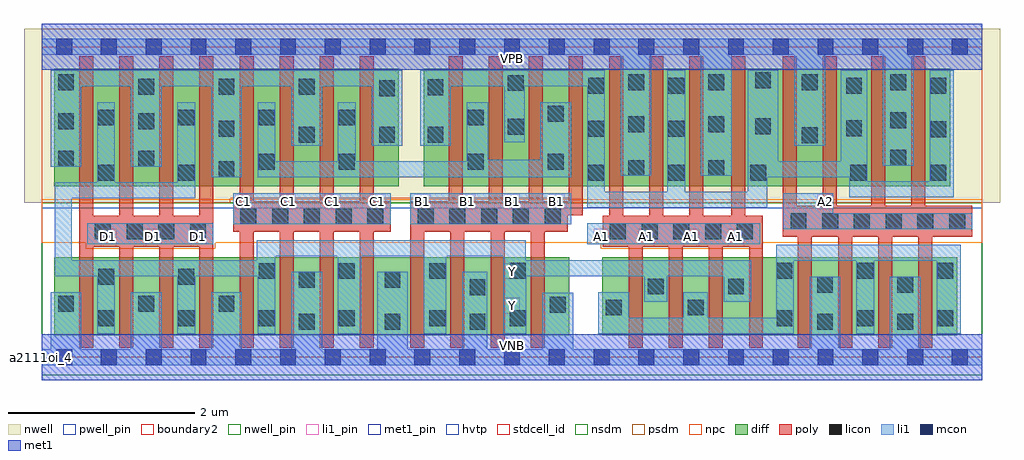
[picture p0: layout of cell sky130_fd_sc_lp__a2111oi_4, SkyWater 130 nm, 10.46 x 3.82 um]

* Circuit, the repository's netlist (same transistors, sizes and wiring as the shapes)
* Copyright 2020 The SkyWater PDK Authors
*
* Licensed under the Apache License, Version 2.0 (the "License");
* you may not use this file except in compliance with the License.
* You may obtain a copy of the License at
*
*     https://www.apache.org/licenses/LICENSE-2.0
*
* Unless required by applicable law or agreed to in writing, software
* distributed under the License is distributed on an "AS IS" BASIS,
* WITHOUT WARRANTIES OR CONDITIONS OF ANY KIND, either express or implied.
* See the License for the specific language governing permissions and
* limitations under the License.
*
* SPDX-License-Identifier: Apache-2.0

.SUBCKT sky130_fd_sc_lp__a2111oi_4 A1 A2 B1 C1 D1 VGND VNB VPB VPWR Y
*.PININFO A1:I A2:I B1:I C1:I D1:I VGND:I VNB:I VPB:I VPWR:I Y:O
MMPA0 pndA A1 VPWR VPB sky130_fd_pr__pfet_01v8_hvt m=4 w=1.26U l=0.15U mult=1 sa=0.265
+ sb=0.265 sd=0.28 area=0.063 perim=1.14
MMPA1 pndA A2 VPWR VPB sky130_fd_pr__pfet_01v8_hvt m=4 w=1.26U l=0.15U mult=1 sa=0.265
+ sb=0.265 sd=0.28 area=0.063 perim=1.14
MMPB0 pndB B1 pndA VPB sky130_fd_pr__pfet_01v8_hvt m=4 w=1.26U l=0.15U mult=1 sa=0.265
+ sb=0.265 sd=0.28 area=0.063 perim=1.14
MMPC0 pndC C1 pndB VPB sky130_fd_pr__pfet_01v8_hvt m=4 w=1.26U l=0.15U mult=1 sa=0.265
+ sb=0.265 sd=0.28 area=0.063 perim=1.14
MMPD0 Y D1 pndC VPB sky130_fd_pr__pfet_01v8_hvt m=4 w=1.26U l=0.15U mult=1 sa=0.265
+ sb=0.265 sd=0.28 area=0.063 perim=1.14
MMNA0 Y A1 sndA1 VNB sky130_fd_pr__nfet_01v8 m=4 w=0.84U l=0.15U mult=1 sa=0.265
+ sb=0.265 sd=0.28 area=0.063 perim=1.14
MMNA1 sndA1 A2 VGND VNB sky130_fd_pr__nfet_01v8 m=4 w=0.84U l=0.15U mult=1 sa=0.265
+ sb=0.265 sd=0.28 area=0.063 perim=1.14
MMNB0 Y B1 VGND VNB sky130_fd_pr__nfet_01v8 m=4 w=0.84U l=0.15U mult=1 sa=0.265
+ sb=0.265 sd=0.28 area=0.063 perim=1.14
MMNC0 Y C1 VGND VNB sky130_fd_pr__nfet_01v8 m=4 w=0.84U l=0.15U mult=1 sa=0.265
+ sb=0.265 sd=0.28 area=0.063 perim=1.14
MMND0 Y D1 VGND VNB sky130_fd_pr__nfet_01v8 m=4 w=0.84U l=0.15U mult=1 sa=0.265
+ sb=0.265 sd=0.28 area=0.063 perim=1.14
.ENDS sky130_fd_sc_lp__a2111oi_4

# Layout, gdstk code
import gdstk
lib = gdstk.Library(unit=1e-6, precision=1e-09)
def R(c, l, rs):  # rectangles x0, y0, x1, y1
    for r in rs: c.add(gdstk.rectangle(r[:2], r[2:], *l))
def A(c, l, x, y, w, h, nx, ny, dx, dy):  # array of equal rectangles
    R(c, l, [(x+i*dx, y+j*dy, x+i*dx+w, y+j*dy+h) for i in range(nx) for j in range(ny)])
def P(c, l, *ps):  # polygons
    for p in ps: c.add(gdstk.Polygon(p, *l))
nwell_pin = (64, 16)
nwell = (64, 20)
diff = (65, 20)
poly = (66, 20)
licon = (66, 44)
li1_pin = (67, 16)
li1 = (67, 20)
mcon = (67, 44)
met1_pin = (68, 16)
met1 = (68, 20)
hvtp = (78, 44)
stdcell_id = (81, 4)
nsdm = (93, 44)
psdm = (94, 20)
npc = (95, 20)
pwell_pin = (122, 16)
boundary2 = (236, 0)

sky130_fd_sc_lp__a2111oi = lib.new_cell('sky130_fd_sc_lp__a2111oi_4')
R(sky130_fd_sc_lp__a2111oi, nwell_pin, [(0,3.085,10.08,3.33)])
R(sky130_fd_sc_lp__a2111oi, nwell, [(-0.19,1.655,10.27,3.52)])
R(sky130_fd_sc_lp__a2111oi, diff, [(0.135,0.235,5.655,1.075), (6.005,0.235,9.81,1.075), (0.135,1.835,3.825,3.095), (4.095,1.835,9.735,3.095)])
P(sky130_fd_sc_lp__a2111oi, poly, [(1.84,3.225),(1.69,3.225),(1.69,1.515),(1.41,1.515),(1.41,3.225),(1.26,3.225),(1.26,1.515),(0.98,1.515),(0.98,3.225),(0.83,3.225),(0.83,1.515),(0.55,1.515),(0.55,3.225),(0.4,3.225),(0.4,0.105),(0.55,0.105),(0.55,1.185),(0.83,1.185),(0.83,0.105),(0.98,0.105),(0.98,1.185),(1.26,1.185),(1.26,0.105),(1.41,0.105),(1.41,1.185),(1.69,1.185),(1.69,0.105),(1.84,0.105)],
  [(3.74,1.675),(3.56,1.675),(3.56,3.225),(3.41,3.225),(3.41,1.675),(3.13,1.675),(3.13,3.225),(2.98,3.225),(2.98,1.675),(2.7,1.675),(2.7,3.225),(2.55,3.225),(2.55,1.675),(2.27,1.675),(2.27,3.225),(2.12,3.225),(2.12,1.675),(2.05,1.675),(2.05,1.345),(2.12,1.345),(2.12,0.105),(2.27,0.105),(2.27,1.345),(2.55,1.345),(2.55,0.105),(2.7,0.105),(2.7,1.345),(2.98,1.345),(2.98,0.105),(3.13,0.105),(3.13,1.345),(3.41,1.345),(3.41,0.105),(3.56,0.105),(3.56,1.345),(3.74,1.345)],
  [(5.8,3.225),(5.65,3.225),(5.65,1.675),(5.37,1.675),(5.37,3.225),(5.22,3.225),(5.22,1.675),(4.94,1.675),(4.94,3.225),(4.79,3.225),(4.79,1.675),(4.51,1.675),(4.51,3.225),(4.36,3.225),(4.36,1.675),(3.95,1.675),(3.95,0.105),(4.1,0.105),(4.1,1.345),(4.38,1.345),(4.38,0.105),(4.53,0.105),(4.53,1.345),(4.81,1.345),(4.81,0.105),(4.96,0.105),(4.96,1.345),(5.24,1.345),(5.24,0.105),(5.39,0.105),(5.39,1.345),(5.64,1.345),(5.64,1.525),(5.8,1.525)],
  [(7.73,1.515),(7.54,1.515),(7.54,3.225),(7.39,3.225),(7.39,1.515),(7.09,1.515),(7.09,3.225),(6.94,3.225),(6.94,1.515),(6.66,1.515),(6.66,3.225),(6.51,3.225),(6.51,1.515),(6.23,1.515),(6.23,3.225),(6.08,3.225),(6.08,1.515),(6.01,1.515),(6.01,1.185),(6.29,1.185),(6.29,0.105),(6.44,0.105),(6.44,1.185),(6.72,1.185),(6.72,0.105),(6.87,0.105),(6.87,1.185),(7.15,1.185),(7.15,0.105),(7.3,0.105),(7.3,1.185),(7.58,1.185),(7.58,0.105),(7.73,0.105)],
  [(9.975,1.625),(9.47,1.625),(9.47,3.225),(9.32,3.225),(9.32,1.625),(9.04,1.625),(9.04,3.225),(8.89,3.225),(8.89,1.625),(8.52,1.625),(8.52,3.225),(8.37,3.225),(8.37,1.625),(8.09,1.625),(8.09,3.225),(7.94,3.225),(7.94,1.295),(8.105,1.295),(8.105,0.105),(8.255,0.105),(8.255,1.295),(8.535,1.295),(8.535,0.105),(8.685,0.105),(8.685,1.295),(8.965,1.295),(8.965,0.105),(9.115,0.105),(9.115,1.295),(9.395,1.295),(9.395,0.105),(9.545,0.105),(9.545,1.295),(9.975,1.295)])
A(sky130_fd_sc_lp__a2111oi, licon, 0.605, 0.335, 0.17, 0.17, 4, 2, 0.86, 2.15)
A(sky130_fd_sc_lp__a2111oi, licon, 0.175, 0.49, 0.17, 0.17, 3, 1, 0.86, 0)
A(sky130_fd_sc_lp__a2111oi, licon, 0.57, 1.265, 0.17, 0.17, 4, 1, 0.34, 0)
A(sky130_fd_sc_lp__a2111oi, licon, 6.09, 1.265, 0.17, 0.17, 5, 1, 0.34, 0)
A(sky130_fd_sc_lp__a2111oi, licon, 8.025, 1.375, 0.17, 0.17, 6, 1, 0.34, 0)
A(sky130_fd_sc_lp__a2111oi, licon, 2.13, 1.425, 0.17, 0.17, 5, 1, 0.34, 0)
A(sky130_fd_sc_lp__a2111oi, licon, 4.03, 1.425, 0.17, 0.17, 5, 1, 0.34, 0)
A(sky130_fd_sc_lp__a2111oi, licon, 9.525, 1.895, 0.17, 0.17, 1, 3, 0, 0.465)
A(sky130_fd_sc_lp__a2111oi, licon, 1.035, 2.815, 0.17, 0.17, 3, 1, 0.86, 0)
R(sky130_fd_sc_lp__a2111oi, licon, [(2.755,0.295,2.925,0.465), (3.675,0.295,3.845,0.465), (4.585,0.295,4.755,0.465), (8.31,0.295,8.48,0.465), (9.17,0.295,9.34,0.465), (4.155,0.335,4.325,0.505), (5.015,0.335,5.185,0.505), (7.875,0.335,8.045,0.505), (8.74,0.335,8.91,0.505), (9.6,0.335,9.77,0.505), (6.045,0.45,6.215,0.62), (6.925,0.45,7.095,0.62), (5.445,0.48,5.615,0.65), (4.585,0.665,4.755,0.835), (6.495,0.675,6.665,0.845), (7.355,0.675,7.525,0.845), (8.31,0.695,8.48,0.865), (9.17,0.695,9.34,0.865), (2.755,0.745,2.925,0.915), (3.675,0.745,3.845,0.915), (0.605,0.78,0.775,0.95), (1.465,0.78,1.635,0.95), (2.325,0.84,2.495,1.01), (3.185,0.84,3.355,1.01), (4.155,0.84,4.325,1.01), (5.015,0.845,5.185,1.015), (7.875,0.845,8.045,1.015), (8.74,0.845,8.91,1.015), (9.6,0.845,9.77,1.015), (0.605,1.895,0.775,2.065), (1.465,1.895,1.635,2.065), (5.855,1.895,6.025,2.065), (6.715,1.895,6.885,2.065), (7.595,1.895,7.765,2.065), (8.665,1.895,8.835,2.065), (1.895,1.93,2.065,2.1), (6.285,1.945,6.455,2.115), (7.145,1.945,7.315,2.115), (2.325,2.01,2.495,2.18), (3.185,2.01,3.355,2.18), (4.565,2.01,4.735,2.18), (5.425,2.01,5.595,2.18), (0.175,2.045,0.345,2.215), (1.035,2.045,1.205,2.215), (9.095,2.055,9.265,2.225), (8.145,2.295,8.315,2.465), (2.755,2.3,2.925,2.47), (3.615,2.3,3.785,2.47), (4.135,2.3,4.305,2.47), (1.895,2.365,2.065,2.535), (5.855,2.365,6.025,2.535), (6.715,2.365,6.885,2.535), (8.62,2.37,8.79,2.54), (4.995,2.385,5.165,2.555), (7.645,2.39,7.815,2.56), (6.285,2.415,6.455,2.585), (7.145,2.415,7.315,2.585), (0.175,2.445,0.345,2.615), (1.035,2.445,1.205,2.615), (9.095,2.455,9.265,2.625), (4.565,2.485,4.735,2.655), (5.425,2.525,5.595,2.695), (3.615,2.8,3.785,2.97), (4.135,2.81,4.305,2.98), (5.855,2.825,6.025,2.995), (6.715,2.825,6.885,2.995), (8.62,2.825,8.79,2.995), (4.995,2.855,5.165,3.025), (0.175,2.865,0.345,3.035), (6.285,2.865,6.455,3.035), (7.145,2.865,7.315,3.035), (8.145,2.865,8.315,3.035), (9.095,2.865,9.265,3.035), (7.645,2.885,7.815,3.055)])
A(sky130_fd_sc_lp__a2111oi, li1_pin, 0.635, 1.21, 0.17, 0.17, 3, 1, 0.48, 0)
A(sky130_fd_sc_lp__a2111oi, li1_pin, 5.915, 1.21, 0.17, 0.17, 4, 1, 0.48, 0)
A(sky130_fd_sc_lp__a2111oi, li1_pin, 2.075, 1.58, 0.17, 0.17, 8, 1, 0.48, 0)
R(sky130_fd_sc_lp__a2111oi, li1_pin, [(4.955,0.47,5.125,0.64), (4.955,0.84,5.125,1.01), (8.315,1.58,8.485,1.75)])
R(sky130_fd_sc_lp__a2111oi, li1, [(0.49,1.21,1.84,1.435), (5.845,1.21,7.7,1.435), (2.05,1.425,3.74,1.76), (3.95,1.425,5.675,1.76)])
P(sky130_fd_sc_lp__a2111oi, li1, [(10.08,3.415),(0,3.415),(0,3.245),(6.205,3.245),(6.205,1.945),(6.535,1.945),(6.535,3.245),(7.065,3.245),(7.065,1.945),(7.395,1.945),(7.395,3.245),(8.065,3.245),(8.065,2.27),(8.395,2.27),(8.395,3.245),(9.015,3.245),(9.015,2.055),(9.345,2.055),(9.345,3.245),(10.08,3.245)],
  [(3.865,3.075),(0.095,3.075),(0.095,2.045),(0.425,2.045),(0.425,2.905),(0.955,2.905),(0.955,2.045),(1.285,2.045),(1.285,2.905),(1.815,2.905),(1.815,1.93),(2.145,1.93),(2.145,2.905),(2.675,2.905),(2.675,2.27),(3.005,2.27),(3.005,2.905),(3.535,2.905),(3.535,2.27),(3.865,2.27)],
  [(7.605,1.04),(5.185,1.04),(5.185,1.255),(2.305,1.255),(2.305,1.04),(0.32,1.04),(0.32,1.705),(1.645,1.705),(1.645,2.735),(1.455,2.735),(1.455,1.875),(0.785,1.875),(0.785,2.735),(0.595,2.735),(0.595,1.875),(0.14,1.875),(0.14,0.87),(0.595,0.87),(0.595,0.255),(0.785,0.255),(0.785,0.87),(1.455,0.87),(1.455,0.255),(1.645,0.255),(1.645,0.87),(2.315,0.87),(2.315,0.255),(2.505,0.255),(2.505,1.085),(3.175,1.085),(3.175,0.255),(3.425,0.255),(3.425,1.085),(4.095,1.085),(4.095,0.255),(4.335,0.255),(4.335,1.085),(4.945,1.085),(4.945,0.255),(5.195,0.255),(5.195,0.87),(6.46,0.87),(6.46,0.595),(6.705,0.595),(6.705,0.87),(7.31,0.87),(7.31,0.595),(7.605,0.595)],
  [(5.675,2.735),(5.345,2.735),(5.345,2.12),(4.785,2.12),(4.785,2.735),(4.555,2.735),(4.555,2.1),(3.365,2.1),(3.365,2.735),(3.175,2.735),(3.175,2.1),(2.505,2.1),(2.505,2.735),(2.315,2.735),(2.315,1.93),(5.675,1.93)],
  [(10.08,0.085),(9.42,0.085),(9.42,0.865),(9.09,0.865),(9.09,0.085),(8.56,0.085),(8.56,0.865),(8.23,0.865),(8.23,0.085),(5.695,0.085),(5.695,0.69),(5.365,0.69),(5.365,0.085),(4.775,0.085),(4.775,0.915),(4.505,0.915),(4.505,0.085),(3.925,0.085),(3.925,0.915),(3.595,0.915),(3.595,0.085),(3.005,0.085),(3.005,0.915),(2.675,0.915),(2.675,0.085),(2.145,0.085),(2.145,0.7),(1.815,0.7),(1.815,0.085),(1.285,0.085),(1.285,0.7),(0.955,0.7),(0.955,0.085),(0.425,0.085),(0.425,0.7),(0.095,0.7),(0.095,0.085),(0,0.085),(0,-0.085),(10.08,-0.085)],
  [(9.975,1.545),(8.485,1.545),(8.485,1.76),(7.945,1.76),(7.945,1.375),(9.975,1.375)],
  [(9.85,1.205),(7.87,1.205),(7.87,0.425),(7.14,0.425),(7.14,0.7),(6.875,0.7),(6.875,0.425),(6.29,0.425),(6.29,0.7),(5.965,0.7),(5.965,0.255),(8.06,0.255),(8.06,1.035),(8.73,1.035),(8.73,0.255),(8.92,0.255),(8.92,1.035),(9.59,1.035),(9.59,0.255),(9.85,0.255)],
  [(9.775,3.075),(9.515,3.075),(9.515,1.885),(8.845,1.885),(8.845,3.075),(8.565,3.075),(8.565,2.1),(7.895,2.1),(7.895,3.075),(7.565,3.075),(7.565,1.775),(6.895,1.775),(6.895,3.075),(6.705,3.075),(6.705,1.775),(6.035,1.775),(6.035,3.075),(4.055,3.075),(4.055,2.27),(4.385,2.27),(4.385,2.905),(4.955,2.905),(4.955,2.305),(5.175,2.305),(5.175,2.905),(5.845,2.905),(5.845,1.605),(7.775,1.605),(7.775,1.93),(8.655,1.93),(8.655,1.715),(9.775,1.715)])
A(sky130_fd_sc_lp__a2111oi, mcon, 0.155, -0.085, 0.17, 0.17, 21, 2, 0.48, 3.33)
R(sky130_fd_sc_lp__a2111oi, met1_pin, [(0,0,10.08,0.245), (0,3.085,10.08,3.33)])
R(sky130_fd_sc_lp__a2111oi, met1, [(0,-0.245,10.08,0.245), (0,3.085,10.08,3.575)])
R(sky130_fd_sc_lp__a2111oi, hvtp, [(0,1.6,10.08,3.33)])
R(sky130_fd_sc_lp__a2111oi, stdcell_id, [(0,0,10.08,3.33)])
R(sky130_fd_sc_lp__a2111oi, nsdm, [(0,-0.19,10.08,1.655)])
P(sky130_fd_sc_lp__a2111oi, psdm, [(10.08,3.52),(0,3.52),(0,1.655),(2.02,1.655),(2.02,1.705),(5.67,1.705),(5.67,1.655),(10.08,1.655)])
P(sky130_fd_sc_lp__a2111oi, npc, [(10.08,1.695),(0,1.695),(0,1.23),(0.47,1.23),(0.47,1.165),(1.86,1.165),(1.86,1.23),(5.99,1.23),(5.99,1.165),(7.72,1.165),(7.72,1.23),(10.08,1.23)])
R(sky130_fd_sc_lp__a2111oi, pwell_pin, [(0,0,10.08,0.245)])
R(sky130_fd_sc_lp__a2111oi, boundary2, [(0,0,10.08,3.33)])
sky130_fd_sc_lp__a2111oi.add(gdstk.Label('VNB', (5.04,0.123), layer=64, texttype=59))
sky130_fd_sc_lp__a2111oi.add(gdstk.Label('VPB', (5.04,3.208), layer=64, texttype=5))
sky130_fd_sc_lp__a2111oi.add(gdstk.Label('a2111oi_4', (0,0), layer=83, texttype=44))
sky130_fd_sc_lp__a2111oi.add(gdstk.Label('VPWR', (5.04,3.208), layer=68, texttype=5))
sky130_fd_sc_lp__a2111oi.add(gdstk.Label('VGND', (5.04,0.123), layer=68, texttype=5))
sky130_fd_sc_lp__a2111oi.add(gdstk.Label('Y', (5.04,0.555), layer=67, texttype=5))
sky130_fd_sc_lp__a2111oi.add(gdstk.Label('Y', (5.04,0.925), layer=67, texttype=5))
sky130_fd_sc_lp__a2111oi.add(gdstk.Label('A1', (6,1.295), layer=67, texttype=5))
sky130_fd_sc_lp__a2111oi.add(gdstk.Label('A1', (6.48,1.295), layer=67, texttype=5))
sky130_fd_sc_lp__a2111oi.add(gdstk.Label('A1', (6.96,1.295), layer=67, texttype=5))
sky130_fd_sc_lp__a2111oi.add(gdstk.Label('A1', (7.44,1.295), layer=67, texttype=5))
sky130_fd_sc_lp__a2111oi.add(gdstk.Label('A2', (8.4,1.665), layer=67, texttype=5))
sky130_fd_sc_lp__a2111oi.add(gdstk.Label('B1', (4.08,1.665), layer=67, texttype=5))
sky130_fd_sc_lp__a2111oi.add(gdstk.Label('B1', (4.56,1.665), layer=67, texttype=5))
sky130_fd_sc_lp__a2111oi.add(gdstk.Label('B1', (5.04,1.665), layer=67, texttype=5))
sky130_fd_sc_lp__a2111oi.add(gdstk.Label('B1', (5.52,1.665), layer=67, texttype=5))
sky130_fd_sc_lp__a2111oi.add(gdstk.Label('C1', (2.16,1.665), layer=67, texttype=5))
sky130_fd_sc_lp__a2111oi.add(gdstk.Label('C1', (2.64,1.665), layer=67, texttype=5))
sky130_fd_sc_lp__a2111oi.add(gdstk.Label('C1', (3.12,1.665), layer=67, texttype=5))
sky130_fd_sc_lp__a2111oi.add(gdstk.Label('C1', (3.6,1.665), layer=67, texttype=5))
sky130_fd_sc_lp__a2111oi.add(gdstk.Label('D1', (0.72,1.295), layer=67, texttype=5))
sky130_fd_sc_lp__a2111oi.add(gdstk.Label('D1', (1.2,1.295), layer=67, texttype=5))
sky130_fd_sc_lp__a2111oi.add(gdstk.Label('D1', (1.68,1.295), layer=67, texttype=5))

lib.write_gds('sky130_fd_sc_lp__a2111oi_4.gds')
